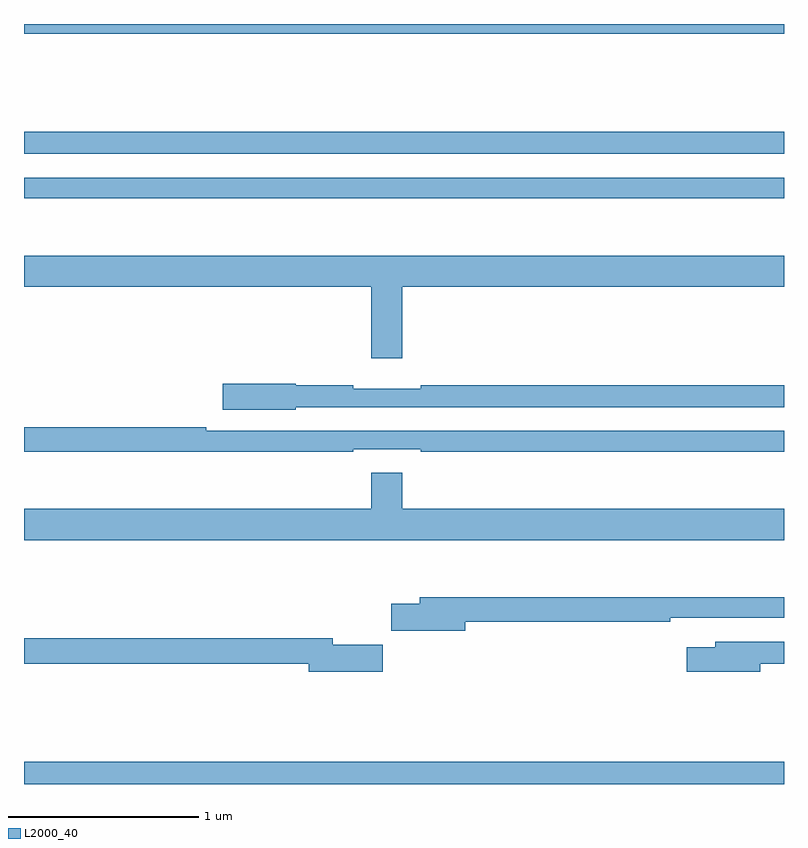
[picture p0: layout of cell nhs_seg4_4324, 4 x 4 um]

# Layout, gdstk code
import gdstk
lib = gdstk.Library(unit=1e-6, precision=1e-09)
def R(c, l, rs):  # rectangles x0, y0, x1, y1
    for r in rs: c.add(gdstk.rectangle(r[:2], r[2:], *l))
def P(c, l, *ps):  # polygons
    for p in ps: c.add(gdstk.Polygon(p, *l))
L2000_40 = (2000, 40)

nhs_seg4_4324 = lib.new_cell('nhs_seg4_4324')
R(nhs_seg4_4324, L2000_40, [(343,764.9,347,765.016), (343,767.982,347,768.09), (343,768.216,347,768.332), (343,768.848,347,768.9)])
P(nhs_seg4_4324, L2000_40, [(344.992,767.516),(347,767.516),(347,767.68),(343,767.68),(343,767.516),(344.828,767.516),(344.828,767.142),(344.992,767.142)],
  [(344.43,766.884),(347,766.884),(347,767),(345.088,767),(345.088,766.981),(344.732,766.981),(344.732,767),(344.43,767),(344.43,767.006),(344.046,767.006),(344.046,766.871),(344.43,766.871)],
  [(344.732,766.662),(345.088,766.662),(345.088,766.65),(347,766.65),(347,766.758),(343.958,766.758),(343.958,766.778),(343,766.778),(343,766.65),(344.732,766.65)],
  [(347,766.348),(344.992,766.348),(344.992,766.537),(344.828,766.537),(344.828,766.348),(343,766.348),(343,766.184),(347,766.184)],
  [(345.322,765.754),(346.4,765.754),(346.4,765.774),(347,765.774),(347,765.883),(345.083,765.883),(345.083,765.849),(344.934,765.849),(344.934,765.707),(345.322,765.707)],
  [(344.887,765.632),(344.626,765.632),(344.626,765.668),(343,765.668),(343,765.532),(344.498,765.532),(344.498,765.49),(344.887,765.49)],
  [(346.876,765.532),(347,765.532),(347,765.648),(346.637,765.648),(346.637,765.619),(346.488,765.619),(346.488,765.49),(346.876,765.49)])

lib.write_gds('nhs_seg4_4324.gds')
